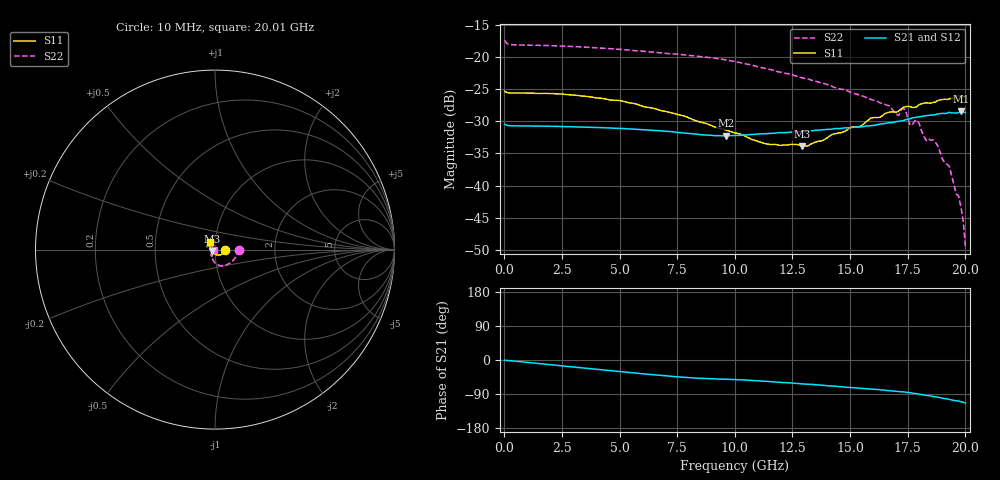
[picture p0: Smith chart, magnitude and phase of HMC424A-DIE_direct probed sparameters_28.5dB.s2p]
!s2p File: Measurements: S11, S21, S12, S22
# GHz S dB R 50.0
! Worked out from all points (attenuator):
!   201 points, 10 MHz to 20.01 GHz, reference 50 ohm
!   highest |S21| = -28.46 dB at 19.81 GHz (marker M1); lowest = -32.3 dB at 9.61 GHz (marker M2)
!   lowest |S11| = -33.9 dB at 12.91 GHz (marker M3), VSWR 1.04, Z = 48.2 - j0.789 ohm
!   |S11| at or under -10 dB: start of sweep to end of sweep
!   |S22| runs from -49.4 to -17.4 dB; largest |S21 - S12| = 0.00038
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0.01  -25.33 -0.1  -30.45 -0.3  -30.47 -0.3  -17.43 -1.1
0.31  -25.60 -2.4  -30.70 -2.3  -30.69 -2.3  -18.09 -3.5
3.41  -26.09 -23.9  -30.89 -21.0  -30.90 -21.0  -18.45 -26.0
6.71  -28.24 -51.8  -31.46 -40.2  -31.47 -40.1  -19.32 -49.8
9.61  -31.36 -86.3  -32.26 -50.9  -32.22 -50.7  -20.46 -71.3
10.01  -31.81 -91.8  -32.22 -51.9  -32.22 -51.6  -20.71 -74.5
11.31  -33.47 -117.7  -31.95 -56.1  -31.92 -56.1  -21.77 -83.3
12.91  -33.88 -156.1  -31.56 -62.9  -31.55 -62.8  -23.22 -93.0
13.41  -33.38 -167.9  -31.45 -64.6  -31.45 -64.5  -23.69 -95.8
16.71  -28.59 138.2  -30.21 -80.9  -30.20 -81.0  -27.64 -116.9
17.11  -28.39 136.8  -30.01 -83.3  -29.95 -83.4  -29.13 -114.2
17.41  -27.73 133.2  -29.76 -84.8  -29.77 -85.2  -28.23 -125.6
17.61  -27.71 130.1  -29.59 -86.1  -29.62 -86.7  -30.58 -125.8
17.91  -27.71 129.0  -29.36 -89.4  -29.41 -89.4  -29.81 -125.5
18.31  -27.12 123.9  -29.12 -93.4  -29.18 -93.3  -33.00 -128.8
18.71  -27.02 124.3  -28.97 -97.1  -28.98 -96.9  -33.29 -133.8
19.01  -26.62 122.0  -28.76 -100.6  -28.78 -100.5  -35.86 -140.2
19.31  -26.55 121.9  -28.59 -103.9  -28.57 -103.9  -36.99 -145.7
19.61  -26.07 121.9  -28.73 -107.7  -28.75 -107.4  -41.29 -151.5
19.81  -26.17 120.0  -28.46 -109.9  -28.47 -109.7  -43.22 -161.0
19.91  -26.20 120.5  -28.54 -111.8  -28.55 -111.8  -45.31 -170.8
20.01  -26.24 122.0  -28.65 -113.5  -28.64 -113.4  -49.42 -179.8
